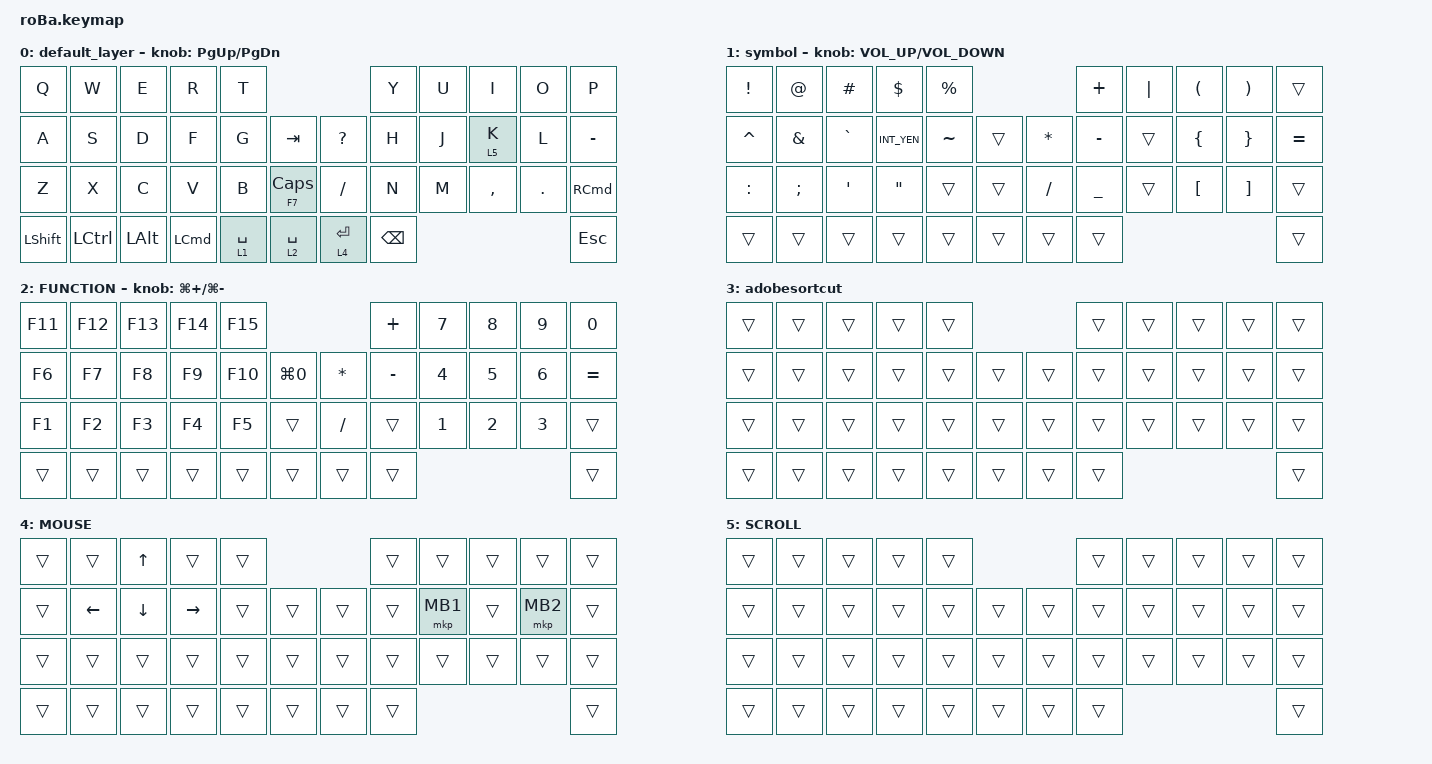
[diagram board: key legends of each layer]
#include <behaviors.dtsi>
#include <dt-bindings/zmk/keys.h>
#include <dt-bindings/zmk/pointing.h>

#define ZMK_MOUSE_DEFAULT_SCRL_VAL 100

&mt {
    flavor = "balanced";
    quick-tap-ms = <0>;
};

&trackball {
    automouse-layer = <4>;
    scroll-layers = <5>;

    // arrows {
    //     layers = <3>;
    //     bindings =
    //         <&kp RIGHT_ARROW>,
    //         <&kp LEFT_ARROW>,
    //         <&kp UP_ARROW>,
    //         <&kp DOWN_ARROW>;
    //     tick = <10>;
    //     wait-ms = <5>;
    //     tap-ms = <5>;
    // };
};

/ {
    combos {
        compatible = "zmk,combos";

        cmd-shift-z {
            bindings = <&kp LS(LG(Z))>;
            key-positions = <34 37>;
        };
    };

    macros {
        to_layer_0: to_layer_0 {
            compatible = "zmk,behavior-macro-one-param";
            #binding-cells = <1>;
            bindings = <&to 0 &macro_param_1to1 &kp MACRO_PLACEHOLDER>;
            label = "TO_LAYER_0";
        };
    };

    behaviors {
        lt_to_layer_0: lt_to_layer_0 {
            compatible = "zmk,behavior-hold-tap";
            label = "LAYER_TAP_TO_0";
            bindings = <&mo>, <&to_layer_0>;

            #binding-cells = <2>;
            tapping-term-ms = <200>;
        };

        scroll_up_down: behavior_sensor_rotate_mouse_wheel_up_down {
            compatible = "zmk,behavior-sensor-rotate";
            #sensor-binding-cells = <0>;
            bindings = <&msc SCRL_UP>, <&msc SCRL_DOWN>;

            tap-ms = <20>;
        };
    };

    keymap {
        compatible = "zmk,keymap";

        default_layer {
            bindings = <
&kp Q           &kp W      &kp E         &kp R             &kp T                                           &kp Y          &kp U  &kp I      &kp O    &kp P
&kp A           &kp S      &kp D         &kp F             &kp G        &kp TAB              &kp QUESTION  &kp H          &kp J  &lt 5 K    &kp L    &kp MINUS
&kp Z           &kp X      &kp C         &kp V             &kp B        &mt F7 CAPSLOCK      &kp SLASH     &kp N          &kp M  &kp COMMA  &kp DOT  &kp RIGHT_COMMAND
&kp LEFT_SHIFT  &kp LCTRL  &kp LEFT_ALT  &kp LEFT_COMMAND  &lt 1 SPACE  &lt 2 SPACE          &lt 4 ENTER   &kp BACKSPACE                             &kp ESCAPE
            >;

            sensor-bindings = <&inc_dec_kp PAGE_UP PAGE_DOWN>;
        };

        symbol {
            bindings = <
&kp EXCLAMATION  &kp AT_SIGN    &kp HASH   &kp DOLLAR         &kp PERCENT                            &kp PLUS        &kp PIPE  &kp LEFT_PARENTHESIS  &kp RIGHT_PARENTHESIS  &trans
&kp CARET        &kp AMPERSAND  &kp GRAVE  &kp INT_YEN        &kp TILDE    &trans      &kp ASTERISK  &kp MINUS       &trans    &kp LEFT_BRACE        &kp RIGHT_BRACE        &kp EQUAL
&kp COLON        &kp SEMICOLON  &kp SQT    &kp DOUBLE_QUOTES  &trans       &trans      &kp SLASH     &kp UNDERSCORE  &trans    &kp LEFT_BRACKET      &kp RIGHT_BRACKET      &trans
&trans           &trans         &trans     &trans             &trans       &trans      &trans        &trans                                                                 &trans
            >;

            sensor-bindings = <&inc_dec_kp C_VOL_UP C_VOLUME_DOWN>;
        };

        FUNCTION {
            bindings = <
&kp F11  &kp F12  &kp F13  &kp F14  &kp F15                                      &kp PLUS   &kp N7  &kp N8  &kp N9  &kp N0
&kp F6   &kp F7   &kp F8   &kp F9   &kp F10  &kp LG(NUMBER_0)      &kp ASTERISK  &kp MINUS  &kp N4  &kp N5  &kp N6  &kp EQUAL
&kp F1   &kp F2   &kp F3   &kp F4   &kp F5   &trans                &kp SLASH     &trans     &kp N1  &kp N2  &kp N3  &trans
&trans   &trans   &trans   &trans   &trans   &trans                &trans        &trans                             &trans
            >;

            sensor-bindings = <&inc_dec_kp LG(PLUS) LG(MINUS)>;
        };

        adobesortcut {
            bindings = <
&trans  &trans  &trans  &trans  &trans                      &trans  &trans  &trans  &trans  &trans
&trans  &trans  &trans  &trans  &trans  &trans      &trans  &trans  &trans  &trans  &trans  &trans
&trans  &trans  &trans  &trans  &trans  &trans      &trans  &trans  &trans  &trans  &trans  &trans
&trans  &trans  &trans  &trans  &trans  &trans      &trans  &trans                          &trans
            >;
        };

        MOUSE {
            bindings = <
&trans  &trans          &kp UP_ARROW    &trans           &trans                      &trans  &trans    &trans  &trans    &trans
&trans  &kp LEFT_ARROW  &kp DOWN_ARROW  &kp RIGHT_ARROW  &trans  &trans      &trans  &trans  &mkp MB1  &trans  &mkp MB2  &trans
&trans  &trans          &trans          &trans           &trans  &trans      &trans  &trans  &trans    &trans  &trans    &trans
&trans  &trans          &trans          &trans           &trans  &trans      &trans  &trans                              &trans
            >;
        };

        SCROLL {
            bindings = <
&trans  &trans  &trans  &trans  &trans                      &trans  &trans  &trans  &trans  &trans
&trans  &trans  &trans  &trans  &trans  &trans      &trans  &trans  &trans  &trans  &trans  &trans
&trans  &trans  &trans  &trans  &trans  &trans      &trans  &trans  &trans  &trans  &trans  &trans
&trans  &trans  &trans  &trans  &trans  &trans      &trans  &trans                          &trans
            >;
        };
    };
};
